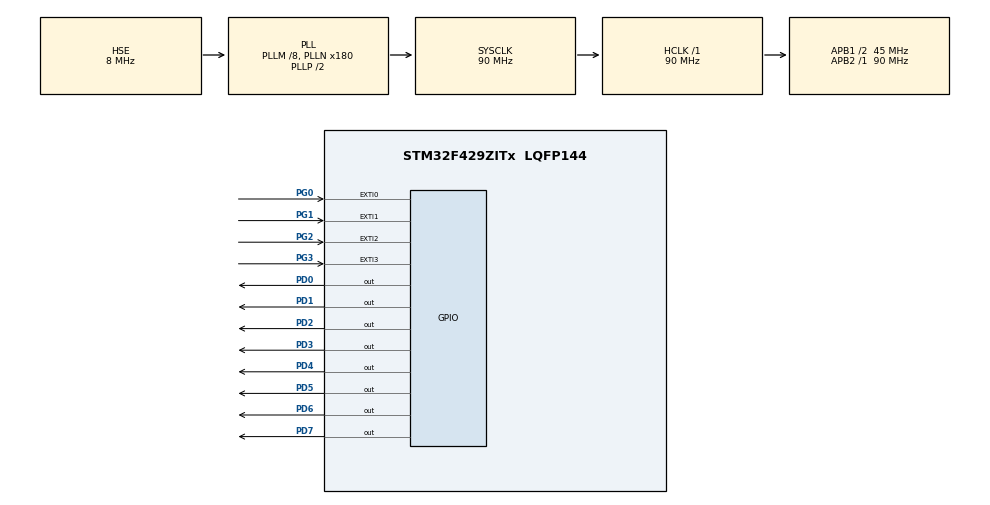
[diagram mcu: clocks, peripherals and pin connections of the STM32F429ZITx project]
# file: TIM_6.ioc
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Mcu.Family=STM32F4
Mcu.Name=STM32F429ZITx
Mcu.Package=LQFP144
NVIC.EXTI0_IRQn=true\:0\:0\:false\:false\:true\:true\:true\:true
NVIC.EXTI1_IRQn=true\:0\:0\:false\:false\:true\:true\:true\:true
NVIC.EXTI2_IRQn=true\:0\:0\:false\:false\:true\:true\:true\:true
NVIC.EXTI3_IRQn=true\:0\:0\:false\:false\:true\:true\:true\:true
NVIC.PriorityGroup=NVIC_PRIORITYGROUP_4
NVIC.TIM2_IRQn=true\:0\:0\:false\:false\:true\:true\:true\:true
NVIC.TIM8_CC_IRQn=true\:0\:0\:false\:false\:true\:true\:true\:true
NVIC.TIM8_UP_TIM13_IRQn=true\:0\:0\:false\:false\:true\:true\:true\:true
PA13.Mode=Serial_Wire
PA13.Signal=SYS_JTMS-SWDIO
PA14.Mode=Serial_Wire
PA14.Signal=SYS_JTCK-SWCLK
PD0.GPIO_ModeDefaultOutputPP=GPIO_MODE_OUTPUT_PP
PD0.GPIO_PuPd=GPIO_PULLUP
PD0.GPIO_Speed=GPIO_SPEED_FREQ_HIGH
PD0.PinState=GPIO_PIN_RESET
PD0.Signal=GPIO_Output
PD1.GPIO_ModeDefaultOutputPP=GPIO_MODE_OUTPUT_PP
PD1.GPIO_PuPd=GPIO_PULLUP
PD1.GPIO_Speed=GPIO_SPEED_FREQ_HIGH
PD1.PinState=GPIO_PIN_RESET
PD1.Signal=GPIO_Output
PD2.GPIO_ModeDefaultOutputPP=GPIO_MODE_OUTPUT_PP
PD2.GPIO_PuPd=GPIO_PULLUP
PD2.GPIO_Speed=GPIO_SPEED_FREQ_HIGH
PD2.PinState=GPIO_PIN_RESET
PD2.Signal=GPIO_Output
PD3.GPIO_ModeDefaultOutputPP=GPIO_MODE_OUTPUT_PP
PD3.GPIO_PuPd=GPIO_PULLUP
PD3.GPIO_Speed=GPIO_SPEED_FREQ_HIGH
PD3.PinState=GPIO_PIN_RESET
PD3.Signal=GPIO_Output
PD4.GPIO_ModeDefaultOutputPP=GPIO_MODE_OUTPUT_PP
PD4.GPIO_PuPd=GPIO_PULLUP
PD4.GPIO_Speed=GPIO_SPEED_FREQ_HIGH
PD4.PinState=GPIO_PIN_RESET
PD4.Signal=GPIO_Output
PD5.GPIO_ModeDefaultOutputPP=GPIO_MODE_OUTPUT_PP
PD5.GPIO_PuPd=GPIO_PULLUP
PD5.GPIO_Speed=GPIO_SPEED_FREQ_HIGH
PD5.PinState=GPIO_PIN_RESET
PD5.Signal=GPIO_Output
PD6.GPIO_ModeDefaultOutputPP=GPIO_MODE_OUTPUT_PP
PD6.GPIO_PuPd=GPIO_PULLUP
PD6.GPIO_Speed=GPIO_SPEED_FREQ_HIGH
PD6.PinState=GPIO_PIN_RESET
PD6.Signal=GPIO_Output
PD7.GPIO_ModeDefaultOutputPP=GPIO_MODE_OUTPUT_PP
PD7.GPIO_PuPd=GPIO_PULLUP
PD7.GPIO_Speed=GPIO_SPEED_FREQ_HIGH
PD7.PinState=GPIO_PIN_RESET
PD7.Signal=GPIO_Output
PG0.GPIO_ModeDefaultEXTI=GPIO_MODE_IT_FALLING
PG0.GPIO_PuPd=GPIO_NOPULL
PG0.Signal=GPXTI0
PG1.GPIO_ModeDefaultEXTI=GPIO_MODE_IT_FALLING
PG1.GPIO_PuPd=GPIO_NOPULL
PG1.Signal=GPXTI1
PG2.GPIO_ModeDefaultEXTI=GPIO_MODE_IT_FALLING
PG2.GPIO_PuPd=GPIO_NOPULL
PG2.Signal=GPXTI2
PG3.GPIO_ModeDefaultEXTI=GPIO_MODE_IT_FALLING
PG3.GPIO_PuPd=GPIO_NOPULL
PG3.Signal=GPXTI3
PH0/OSC_IN.Mode=HSE-External-Clock-Source
PH0/OSC_IN.Signal=RCC_OSC_IN
PH1/OSC_OUT.Mode=HSE-External-Clock-Source
PH1/OSC_OUT.Signal=RCC_OSC_OUT
ProjectManager.HeapSize=0x200
ProjectManager.StackSize=0x400
ProjectManager.TargetToolchain=STM32CubeIDE
RCC.48MHZClocksFreq_Value=45000000
RCC.AHBFreq_Value=90000000
RCC.APB1CLKDivider=RCC_HCLK_DIV2
RCC.APB1Freq_Value=45000000
RCC.APB1TimFreq_Value=90000000
RCC.APB2Freq_Value=90000000
RCC.APB2TimFreq_Value=90000000
RCC.CortexFreq_Value=90000000
RCC.HCLKFreq_Value=90000000
RCC.HSE_VALUE=8000000
RCC.HSI_VALUE=16000000
RCC.LSE_VALUE=32768
RCC.PLLM=8
RCC.PLLN=180
RCC.PLLSourceVirtual=RCC_PLLSOURCE_HSE
RCC.SYSCLKFreq_VALUE=90000000
RCC.SYSCLKSource=RCC_SYSCLKSOURCE_PLLCLK
RCC.VCOOutputFreq_Value=180000000
TIM2.Channel-Output\ Compare1\ No\ Output=TIM_CHANNEL_1
TIM2.Period=9999
TIM2.Prescaler=8999
TIM8.Channel-Output\ Compare1\ No\ Output=TIM_CHANNEL_1
TIM8.Channel-Output\ Compare2\ No\ Output=TIM_CHANNEL_2
TIM8.Period=9999
TIM8.Pulse-Output\ Compare1\ No\ Output=9999
TIM8.Pulse-Output\ Compare2\ No\ Output=9999
VP_TIM2_VS_ClockSourceINT.Mode=Internal
VP_TIM2_VS_no_output1.Mode=Output Compare1 No Output
VP_TIM8_VS_ClockSourceINT.Mode=Internal
VP_TIM8_VS_no_output1.Mode=Output Compare1 No Output
VP_TIM8_VS_no_output2.Mode=Output Compare2 No Output
board=custom

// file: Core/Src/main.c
/* USER CODE BEGIN Header */
/**
  ******************************************************************************
  * @file           : main.c
  * @brief          : Main program body
  ******************************************************************************
  * @attention
  *
  * Copyright (c) 2023 STMicroelectronics.
  * All rights reserved.
  *
  * This software is licensed under terms that can be found in the LICENSE file
  * in the root directory of this software component.
  * If no LICENSE file comes with this software, it is provided AS-IS.
  *
  ******************************************************************************
  */
/* USER CODE END Header */
#include "main.h"

TIM_HandleTypeDef htim2;
TIM_HandleTypeDef htim8;

void SystemClock_Config(void);
static void MX_GPIO_Init(void);
static void MX_TIM2_Init(void);
static void MX_TIM8_Init(void);
/* USER CODE BEGIN PFP */

void LED_OnOff(int, int);

/* USER CODE END PFP */

int main(void)
{

  /* MCU Configuration--------------------------------------------------------*/

  /* Reset of all peripherals, Initializes the Flash interface and the Systick. */
  HAL_Init();

  /* Configure the system clock */
  SystemClock_Config();

  /* Initialize all configured peripherals */
  MX_GPIO_Init();
  MX_TIM2_Init();
  MX_TIM8_Init();
  /* USER CODE BEGIN 2 */

  LED_OnOff(LED_ALL, 500);

  HAL_TIM_Base_Start_IT(&htim8);
  HAL_TIM_OC_Start_IT(&htim8, TIM_CHANNEL_1);
  HAL_TIM_OC_Start_IT(&htim8, TIM_CHANNEL_2);

  /* USER CODE END 2 */

  /* Infinite loop */
  while (1)
  {

  }
}

void SystemClock_Config(void)
{
  RCC_OscInitTypeDef RCC_OscInitStruct = {0};
  RCC_ClkInitTypeDef RCC_ClkInitStruct = {0};

  /** Configure the main internal regulator output voltage
  */
  __HAL_RCC_PWR_CLK_ENABLE();
  __HAL_PWR_VOLTAGESCALING_CONFIG(PWR_REGULATOR_VOLTAGE_SCALE3);

  /** Initializes the RCC Oscillators according to the specified parameters
  * in the RCC_OscInitTypeDef structure.
  */
  RCC_OscInitStruct.OscillatorType = RCC_OSCILLATORTYPE_HSE;
  RCC_OscInitStruct.HSEState = RCC_HSE_BYPASS;
  RCC_OscInitStruct.PLL.PLLState = RCC_PLL_ON;
  RCC_OscInitStruct.PLL.PLLSource = RCC_PLLSOURCE_HSE;
  RCC_OscInitStruct.PLL.PLLM = 8;
  RCC_OscInitStruct.PLL.PLLN = 180;
  RCC_OscInitStruct.PLL.PLLP = RCC_PLLP_DIV2;
  RCC_OscInitStruct.PLL.PLLQ = 4;
  if (HAL_RCC_OscConfig(&RCC_OscInitStruct) != HAL_OK)
  {
    Error_Handler();
  }

  /** Activate the Over-Drive mode
  */
  if (HAL_PWREx_EnableOverDrive() != HAL_OK)
  {
    Error_Handler();
  }

  /** Initializes the CPU, AHB and APB buses clocks
  */
  RCC_ClkInitStruct.ClockType = RCC_CLOCKTYPE_HCLK|RCC_CLOCKTYPE_SYSCLK
                              |RCC_CLOCKTYPE_PCLK1|RCC_CLOCKTYPE_PCLK2;
  RCC_ClkInitStruct.SYSCLKSource = RCC_SYSCLKSOURCE_PLLCLK;
  RCC_ClkInitStruct.AHBCLKDivider = RCC_SYSCLK_DIV1;
  RCC_ClkInitStruct.APB1CLKDivider = RCC_HCLK_DIV2;
  RCC_ClkInitStruct.APB2CLKDivider = RCC_HCLK_DIV1;

  if (HAL_RCC_ClockConfig(&RCC_ClkInitStruct, FLASH_LATENCY_2) != HAL_OK)
  {
    Error_Handler();
  }
}

static void MX_TIM2_Init(void)
{

  TIM_ClockConfigTypeDef sClockSourceConfig = {0};
  TIM_MasterConfigTypeDef sMasterConfig = {0};
  TIM_OC_InitTypeDef sConfigOC = {0};

  htim2.Instance = TIM2;
  htim2.Init.Prescaler = 8999;
  htim2.Init.CounterMode = TIM_COUNTERMODE_UP;
  htim2.Init.Period = 9999;
  htim2.Init.ClockDivision = TIM_CLOCKDIVISION_DIV1;
  htim2.Init.AutoReloadPreload = TIM_AUTORELOAD_PRELOAD_DISABLE;
  if (HAL_TIM_Base_Init(&htim2) != HAL_OK)
  {
    Error_Handler();
  }
  sClockSourceConfig.ClockSource = TIM_CLOCKSOURCE_INTERNAL;
  if (HAL_TIM_ConfigClockSource(&htim2, &sClockSourceConfig) != HAL_OK)
  {
    Error_Handler();
  }
  if (HAL_TIM_OC_Init(&htim2) != HAL_OK)
  {
    Error_Handler();
  }
  sMasterConfig.MasterOutputTrigger = TIM_TRGO_RESET;
  sMasterConfig.MasterSlaveMode = TIM_MASTERSLAVEMODE_DISABLE;
  if (HAL_TIMEx_MasterConfigSynchronization(&htim2, &sMasterConfig) != HAL_OK)
  {
    Error_Handler();
  }
  sConfigOC.OCMode = TIM_OCMODE_TIMING;
  sConfigOC.Pulse = 0;
  sConfigOC.OCPolarity = TIM_OCPOLARITY_HIGH;
  sConfigOC.OCFastMode = TIM_OCFAST_DISABLE;
  if (HAL_TIM_OC_ConfigChannel(&htim2, &sConfigOC, TIM_CHANNEL_1) != HAL_OK)
  {
    Error_Handler();
  }

}

static void MX_TIM8_Init(void)
{

  TIM_ClockConfigTypeDef sClockSourceConfig = {0};
  TIM_MasterConfigTypeDef sMasterConfig = {0};
  TIM_OC_InitTypeDef sConfigOC = {0};
  TIM_BreakDeadTimeConfigTypeDef sBreakDeadTimeConfig = {0};

  htim8.Instance = TIM8;
  htim8.Init.Prescaler = 0;
  htim8.Init.CounterMode = TIM_COUNTERMODE_UP;
  htim8.Init.Period = 9999;
  htim8.Init.ClockDivision = TIM_CLOCKDIVISION_DIV1;
  htim8.Init.RepetitionCounter = 0;
  htim8.Init.AutoReloadPreload = TIM_AUTORELOAD_PRELOAD_DISABLE;
  if (HAL_TIM_Base_Init(&htim8) != HAL_OK)
  {
    Error_Handler();
  }
  sClockSourceConfig.ClockSource = TIM_CLOCKSOURCE_INTERNAL;
  if (HAL_TIM_ConfigClockSource(&htim8, &sClockSourceConfig) != HAL_OK)
  {
    Error_Handler();
  }
  if (HAL_TIM_OC_Init(&htim8) != HAL_OK)
  {
    Error_Handler();
  }
  sMasterConfig.MasterOutputTrigger = TIM_TRGO_RESET;
  sMasterConfig.MasterSlaveMode = TIM_MASTERSLAVEMODE_DISABLE;
  if (HAL_TIMEx_MasterConfigSynchronization(&htim8, &sMasterConfig) != HAL_OK)
  {
    Error_Handler();
  }
  sConfigOC.OCMode = TIM_OCMODE_TIMING;
  sConfigOC.Pulse = 9999;
  sConfigOC.OCPolarity = TIM_OCPOLARITY_HIGH;
  sConfigOC.OCNPolarity = TIM_OCNPOLARITY_HIGH;
  sConfigOC.OCFastMode = TIM_OCFAST_DISABLE;
  sConfigOC.OCIdleState = TIM_OCIDLESTATE_RESET;
  sConfigOC.OCNIdleState = TIM_OCNIDLESTATE_RESET;
  if (HAL_TIM_OC_ConfigChannel(&htim8, &sConfigOC, TIM_CHANNEL_1) != HAL_OK)
  {
    Error_Handler();
  }
  if (HAL_TIM_OC_ConfigChannel(&htim8, &sConfigOC, TIM_CHANNEL_2) != HAL_OK)
  {
    Error_Handler();
  }
  sBreakDeadTimeConfig.OffStateRunMode = TIM_OSSR_DISABLE;
  sBreakDeadTimeConfig.OffStateIDLEMode = TIM_OSSI_DISABLE;
  sBreakDeadTimeConfig.LockLevel = TIM_LOCKLEVEL_OFF;
  sBreakDeadTimeConfig.DeadTime = 0;
  sBreakDeadTimeConfig.BreakState = TIM_BREAK_DISABLE;
  sBreakDeadTimeConfig.BreakPolarity = TIM_BREAKPOLARITY_HIGH;
  sBreakDeadTimeConfig.AutomaticOutput = TIM_AUTOMATICOUTPUT_DISABLE;
  if (HAL_TIMEx_ConfigBreakDeadTime(&htim8, &sBreakDeadTimeConfig) != HAL_OK)
  {
    Error_Handler();
  }

}

static void MX_GPIO_Init(void)
{
  GPIO_InitTypeDef GPIO_InitStruct = {0};

  /* GPIO Ports Clock Enable */
  __HAL_RCC_GPIOH_CLK_ENABLE();
  __HAL_RCC_GPIOG_CLK_ENABLE();
  __HAL_RCC_GPIOA_CLK_ENABLE();
  __HAL_RCC_GPIOD_CLK_ENABLE();

  /*Configure GPIO pin Output Level */
  HAL_GPIO_WritePin(GPIOD, GPIO_PIN_0|GPIO_PIN_1|GPIO_PIN_2|GPIO_PIN_3
                          |GPIO_PIN_4|GPIO_PIN_5|GPIO_PIN_6|GPIO_PIN_7, GPIO_PIN_RESET);

  /*Configure GPIO pins : PG0 PG1 PG2 PG3 */
  GPIO_InitStruct.Pin = GPIO_PIN_0|GPIO_PIN_1|GPIO_PIN_2|GPIO_PIN_3;
  GPIO_InitStruct.Mode = GPIO_MODE_IT_FALLING;
  GPIO_InitStruct.Pull = GPIO_NOPULL;
  HAL_GPIO_Init(GPIOG, &GPIO_InitStruct);

  /*Configure GPIO pins : PD0 PD1 PD2 PD3
                           PD4 PD5 PD6 PD7 */
  GPIO_InitStruct.Pin = GPIO_PIN_0|GPIO_PIN_1|GPIO_PIN_2|GPIO_PIN_3
                          |GPIO_PIN_4|GPIO_PIN_5|GPIO_PIN_6|GPIO_PIN_7;
  GPIO_InitStruct.Mode = GPIO_MODE_OUTPUT_PP;
  GPIO_InitStruct.Pull = GPIO_PULLUP;
  GPIO_InitStruct.Speed = GPIO_SPEED_FREQ_HIGH;
  HAL_GPIO_Init(GPIOD, &GPIO_InitStruct);

  /* EXTI interrupt init*/
  HAL_NVIC_SetPriority(EXTI0_IRQn, 0, 0);
  HAL_NVIC_EnableIRQ(EXTI0_IRQn);

  HAL_NVIC_SetPriority(EXTI1_IRQn, 0, 0);
  HAL_NVIC_EnableIRQ(EXTI1_IRQn);

  HAL_NVIC_SetPriority(EXTI2_IRQn, 0, 0);
  HAL_NVIC_EnableIRQ(EXTI2_IRQn);

  HAL_NVIC_SetPriority(EXTI3_IRQn, 0, 0);
  HAL_NVIC_EnableIRQ(EXTI3_IRQn);

}

/* USER CODE BEGIN 4 */

void LED_OnOff(int led, int interval)
{
	HAL_GPIO_WritePin(GPIO_LED, led, GPIO_PIN_SET );
	HAL_GPIO_WritePin(GPIO_LED_Nucleo, led, GPIO_PIN_SET );
	HAL_Delay(interval);
	HAL_GPIO_WritePin(GPIO_LED, led, GPIO_PIN_RESET );
	HAL_GPIO_WritePin(GPIO_LED_Nucleo, led, GPIO_PIN_RESET );
}
void HAL_TIM_PeriodElapsedCallback(TIM_HandleTypeDef *htim)
{
	if ( htim->Instance == TIM8) HAL_GPIO_WritePin(GPIO_LED, LED1|LED2|LED7|LED8, GPIO_PIN_SET);
}
void HAL_TIM_OC_DelayElapsedCallback(TIM_HandleTypeDef *htim)
{
	if ( htim->Instance == TIM8) {
		if(htim->Channel == HAL_TIM_ACTIVE_CHANNEL_1) {
			HAL_GPIO_WritePin(GPIO_LED, LED1 | LED2, GPIO_PIN_RESET);
		}
		if(htim->Channel == HAL_TIM_ACTIVE_CHANNEL_2) {
			HAL_GPIO_WritePin(GPIO_LED, LED7 | LED8, GPIO_PIN_RESET);
		}
	}
}
void HAL_GPIO_EXTI_Callback(uint16_t GPIO_PIN)
{
	TIM_OC_InitTypeDef sConfigOC = {0};
	if ( GPIO_PIN == SW1 ) {
		sConfigOC.Pulse = 9999;
		HAL_TIM_OC_ConfigChannel(&htim8, &sConfigOC, TIM_CHANNEL_1);
		HAL_TIM_OC_ConfigChannel(&htim8, &sConfigOC, TIM_CHANNEL_2);
	}
	if ( GPIO_PIN == SW2 ) {
		sConfigOC.Pulse = 2500;
		HAL_TIM_OC_ConfigChannel(&htim8, &sConfigOC, TIM_CHANNEL_1);
	}
	if ( GPIO_PIN == SW3 ) {
		sConfigOC.Pulse = 5000;
		HAL_TIM_OC_ConfigChannel(&htim8, &sConfigOC, TIM_CHANNEL_2);
	}
	if ( GPIO_PIN == SW4 ) {
		sConfigOC.Pulse = 1200;
		HAL_TIM_OC_ConfigChannel(&htim8, &sConfigOC, TIM_CHANNEL_2);
	}
}

/* USER CODE END 4 */

void Error_Handler(void)
{
  __disable_irq();
  while (1)
  {
  }
}
